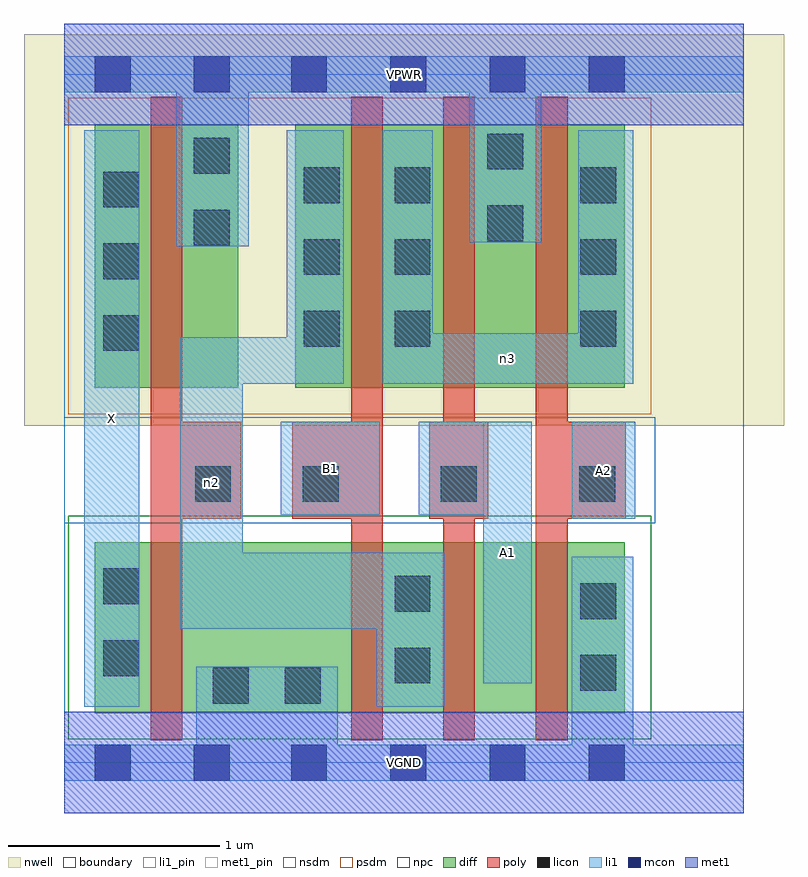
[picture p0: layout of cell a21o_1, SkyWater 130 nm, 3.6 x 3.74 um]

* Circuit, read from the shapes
.subckt a21o_1 A1 A2 B1 VGND VPWR X n2 n3
XM1 VGND n2 X VSUBS sky130_fd_pr__nfet_01v8 w=0.81 l=0.15
XM2 n2 B1 VGND VSUBS sky130_fd_pr__nfet_01v8 w=0.81 l=0.15
XM3 n1 A1 n2 VSUBS sky130_fd_pr__nfet_01v8 w=0.81 l=0.15
XM4 VGND A2 n1 VSUBS sky130_fd_pr__nfet_01v8 w=0.81 l=0.15
XM5 VPWR n2 X n4 sky130_fd_pr__pfet_01v8 w=1.25 l=0.15
XM6 n3 B1 n2 n4 sky130_fd_pr__pfet_01v8 w=1.25 l=0.15
XM7 VPWR A1 n3 n4 sky130_fd_pr__pfet_01v8 w=1.25 l=0.15
XM8 n3 A2 VPWR n4 sky130_fd_pr__pfet_01v8 w=1.25 l=0.15
.ends

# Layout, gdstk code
import gdstk
lib = gdstk.Library(unit=1e-6, precision=1e-09)
def R(c, l, rs):  # rectangles x0, y0, x1, y1
    for r in rs: c.add(gdstk.rectangle(r[:2], r[2:], *l))
def A(c, l, x, y, w, h, nx, ny, dx, dy):  # array of equal rectangles
    R(c, l, [(x+i*dx, y+j*dy, x+i*dx+w, y+j*dy+h) for i in range(nx) for j in range(ny)])
nwell = (64, 20)
diff = (65, 20)
poly = (66, 20)
licon = (66, 44)
li1_pin = (67, 16)
li1 = (67, 20)
mcon = (67, 44)
met1_pin = (68, 16)
met1 = (68, 20)
nsdm = (93, 44)
psdm = (94, 20)
npc = (95, 20)
boundary = (235, 4)

a21o_1 = lib.new_cell('a21o_1')
R(a21o_1, nwell, [(-0.19,1.595,3.41,3.45), (0,1.595,3.22,3.45)])
R(a21o_1, diff, [(0.145,0.235,2.655,1.045), (0.145,1.775,0.825,3.025), (1.095,1.775,2.655,3.025)])
R(a21o_1, poly, [(0.41,0.105,0.56,3.155), (1.36,0.105,1.51,3.155), (1.795,0.105,1.945,3.155), (2.235,0.105,2.385,3.155), (0.41,1.155,0.84,1.615), (1.08,1.155,1.51,1.615), (1.73,1.155,2.01,1.615), (2.235,1.155,2.66,1.615)])
A(a21o_1, licon, 1.13, 1.235, 0.17, 0.17, 3, 1, 0.655, 0)
A(a21o_1, licon, 0.185, 1.95, 0.17, 0.17, 1, 3, 0, 0.34)
A(a21o_1, licon, 1.135, 1.97, 0.17, 0.17, 1, 3, 0, 0.34)
A(a21o_1, licon, 1.565, 1.97, 0.17, 0.17, 1, 3, 0, 0.34)
A(a21o_1, licon, 2.445, 1.97, 0.17, 0.17, 1, 3, 0, 0.34)
R(a21o_1, licon, [(0.705,0.28,0.875,0.45), (1.045,0.28,1.215,0.45), (2.445,0.34,2.615,0.51), (1.565,0.375,1.735,0.545), (0.185,0.41,0.355,0.58), (2.445,0.68,2.615,0.85), (1.565,0.715,1.735,0.885), (0.185,0.75,0.355,0.92), (0.62,1.235,0.79,1.405), (0.615,2.45,0.785,2.62), (2.005,2.47,2.175,2.64), (0.615,2.79,0.785,2.96), (2.005,2.81,2.175,2.98)])
R(a21o_1, li1_pin, [(0.095,0.265,0.355,2.995), (1.985,0.375,2.215,1.615), (2.405,1.155,2.705,1.615), (1.025,1.175,1.495,1.615)])
R(a21o_1, li1, [(0,-0.085,3.22,0.085), (0.625,-0.085,1.295,0.455), (2.405,-0.085,2.695,0.975), (0.095,0.265,0.355,2.995), (1.48,0.265,1.8,0.995), (1.985,0.375,2.215,1.615), (0.55,0.635,0.845,2.015), (0.55,0.635,1.8,0.995), (2.405,1.155,2.705,1.615), (1.025,1.175,1.495,1.615), (1.68,1.175,2.215,1.615), (0.55,1.795,1.325,2.015), (1.055,1.795,1.325,2.995), (1.51,1.795,2.695,2.035), (1.51,1.795,1.745,2.995), (2.435,1.795,2.695,2.995), (0.53,2.445,0.875,3.345), (1.92,2.465,2.26,3.345), (0,3.175,3.22,3.345)])
A(a21o_1, mcon, 1.075, -0.085, 0.17, 0.17, 4, 2, 0.47, 3.26)
R(a21o_1, mcon, [(0.145,-0.085,0.315,0.085), (0.615,-0.085,0.785,0.085), (0.145,3.175,0.315,3.345), (0.615,3.175,0.785,3.345)])
R(a21o_1, met1_pin, [(0,-0.24,3.22,0.24), (0,3.02,3.22,3.5)])
R(a21o_1, met1, [(0,-0.24,3.22,0.24), (0,3.02,3.22,3.5)])
R(a21o_1, nsdm, [(0.02,0.11,2.78,1.17)])
R(a21o_1, psdm, [(0.02,1.65,2.78,3.15)])
R(a21o_1, npc, [(0,1.135,2.8,1.635)])
R(a21o_1, boundary, [(0,0,3.22,3.26)])
a21o_1.add(gdstk.Label('A1', (2.1,0.995), layer=67, texttype=5))
a21o_1.add(gdstk.Label('A2', (2.555,1.385), layer=67, texttype=5))
a21o_1.add(gdstk.Label('B1', (1.26,1.395), layer=67, texttype=5))
a21o_1.add(gdstk.Label('X', (0.225,1.63), layer=67, texttype=5))
a21o_1.add(gdstk.Label('n2', (0.697,1.325), layer=67, texttype=5))
a21o_1.add(gdstk.Label('n3', (2.102,1.915), layer=67, texttype=5))
a21o_1.add(gdstk.Label('VPWR', (1.61,3.26), layer=68, texttype=5))
a21o_1.add(gdstk.Label('VGND', (1.61,0), layer=68, texttype=5))
a21o_1.add(gdstk.Label('A1', (2.1,0.995), layer=67, texttype=16))
a21o_1.add(gdstk.Label('A2', (2.555,1.385), layer=67, texttype=16))
a21o_1.add(gdstk.Label('B1', (1.26,1.395), layer=67, texttype=16))
a21o_1.add(gdstk.Label('X', (0.225,1.63), layer=67, texttype=16))
a21o_1.add(gdstk.Label('VPWR', (1.61,3.26), layer=68, texttype=16))
a21o_1.add(gdstk.Label('VGND', (1.61,0), layer=68, texttype=16))

lib.write_gds('a21o_1.gds')
